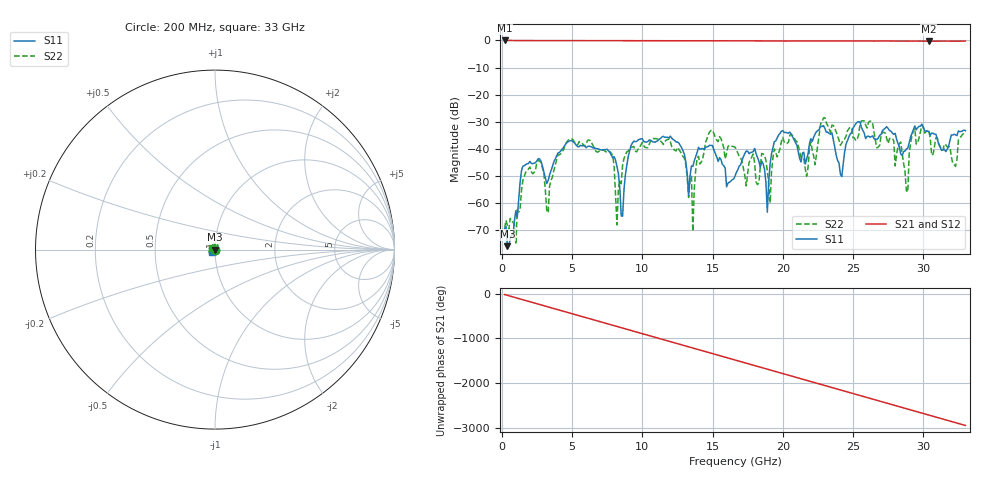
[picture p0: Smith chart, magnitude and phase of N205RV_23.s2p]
# GHZ S RI R 50
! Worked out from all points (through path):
!   329 points, 200 MHz to 33 GHz, reference 50 ohm
!   highest |S21| = -0.02 dB at 200 MHz (marker M1); lowest = -0.3 dB at 30.4 GHz (marker M2)
!   group delay of S21, straight-line fit = 248 ps
!   lowest |S11| = -75.9 dB at 400 MHz (marker M3), VSWR 1.00, Z = 50 + j0.00297 ohm
!   |S11| at or under -10 dB: start of sweep to end of sweep
!   |S22| runs from -75.1 to -28.5 dB; largest |S21 - S12| = 0.0019
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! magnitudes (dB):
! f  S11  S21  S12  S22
! 200 MHz  -69.5  0.0  0.0  -69.2
! 400 MHz  -75.9  0.0  0.0  -68.3
! 1.5 GHz  -46.3  -0.1  -0.1  -51.6
! 3.3 GHz  -51.6  -0.1  -0.1  -63.5
! 5.7 GHz  -38.9  -0.1  -0.1  -37.9
! 7.9 GHz  -43.3  -0.1  -0.1  -42.6
! 8.2 GHz  -46.6  -0.1  -0.1  -68.0
! 8.6 GHz  -64.8  -0.1  -0.1  -45.9
! 8.9 GHz  -45.9  -0.1  -0.1  -41.1
! 11.2 GHz  -36.5  -0.2  -0.2  -36.8
! 13.5 GHz  -46.3  -0.1  -0.1  -50.1
! 13.6 GHz  -46.5  -0.2  -0.2  -70.4
! 13.9 GHz  -41.4  -0.1  -0.1  -43.6
! 14.8 GHz  -38.6  -0.2  -0.2  -33.7
! 16.6 GHz  -50.1  -0.2  -0.2  -39.3
! 19.1 GHz  -45.4  -0.2  -0.2  -59.9
! 20 GHz  -33.3  -0.2  -0.2  -35.8
! 22.1 GHz  -37.2  -0.2  -0.2  -40.7
! 27.6 GHz  -33.2  -0.2  -0.2  -36.2
! 28.9 GHz  -39.7  -0.3  -0.3  -55.9
! 30.4 GHz  -33.5  -0.3  -0.3  -33.2
! 33 GHz  -33.2  -0.2  -0.2  -33.1
